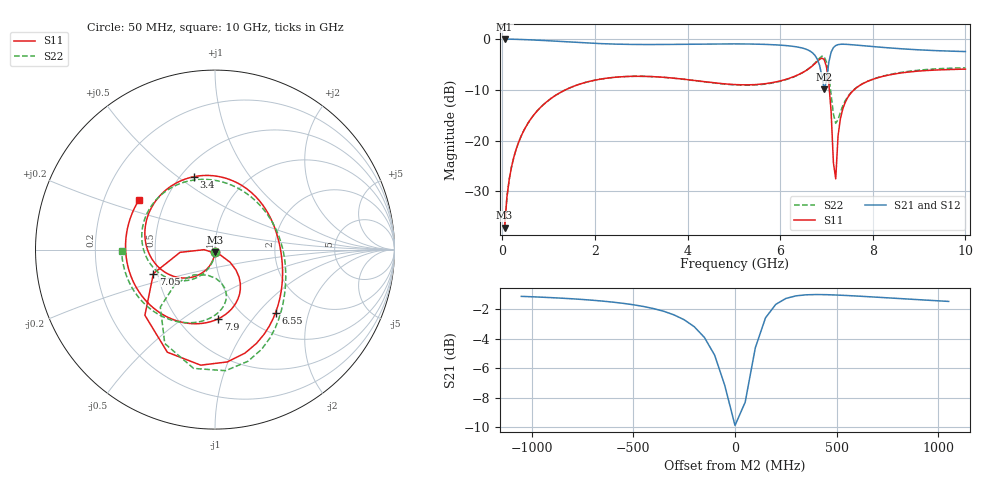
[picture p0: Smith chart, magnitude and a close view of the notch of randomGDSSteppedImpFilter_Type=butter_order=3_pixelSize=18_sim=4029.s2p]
! freq	dB(S11)	phase(S11)	dB(S12)	phase(S12)
!  dB(S21)	phase(S21)	dB(S22)	phase(S22)
!S-par simulation data
#  GHz  S  DB  R 50
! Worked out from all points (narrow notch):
!   200 points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, 50 MHz to 10 GHz, reference 50 ohm
!   highest |S21| = -0.01 dB at 50 MHz (marker M1); lowest = -9.9 dB at 6.95 GHz (marker M2)
!   notch at M2: 8.8 dB deep, 180 MHz wide at half that depth
!   lowest |S11| = -37.1 dB at 50 MHz (marker M3), VSWR 1.03, Z = 49.9 - j1.39 ohm
!   |S11| at or under -10 dB: start of sweep to 1.364 GHz; 7.062 GHz to 7.595 GHz (532.6 MHz wide, 7.27 % of centre)
!   |S22| runs from -37.1 to -3.4 dB; largest |S21 - S12| = 0
!   S11 on the Smith chart (normalised r, x): 50 MHz: 1.00, -0.03; 3.4 GHz: 0.58, +0.57; 6.55 GHz: 1.36, -1.25; 7.05 GHz: 0.47, -0.15; 7.9 GHz: 0.77, -0.69; 10 GHz: 0.35, +0.26
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0.05  -37.14 -92.5  -0.01 -2.4  -0.01 -2.4  -37.13 -92.2
0.2  -25.14 -100.6  -0.03 -9.8  -0.03 -9.8  -25.14 -99.5
0.5  -17.42 -116.1  -0.11 -24.3  -0.11 -24.3  -17.41 -113.5
1.75  -8.66 -177.0  -0.74 -81.6  -0.74 -81.6  -8.66 -167.6
2.55  -7.44 145.9  -1.02 -116.3  -1.02 -116.3  -7.44 160.1
3.4  -7.47 106.4  -1.07 -153.4  -1.07 -153.4  -7.48 125.7
4.25  -8.26 66.3  -0.99 168.0  -0.99 168.0  -8.30 88.9
5.05  -8.97 29.4  -0.95 129.6  -0.95 129.6  -9.04 49.9
5.85  -8.54 -6.7  -1.12 89.1  -1.12 89.1  -8.62 5.4
6.55  -6.25 -46.1  -1.97 48.7  -1.97 48.7  -6.24 -39.3
6.7  -5.26 -60.0  -2.72 37.6  -2.72 37.6  -5.18 -52.5
6.85  -4.02 -83.8  -5.12 25.1  -5.12 25.1  -3.76 -73.5
6.95  -4.01 -114.9  -9.88 40.3  -9.88 40.3  -3.44 -100.2
7.05  -8.68 -158.8  -4.61 73.4  -4.61 73.4  -7.10 -133.6
7.15  -24.35 -179.6  -1.68 56.0  -1.68 56.0  -14.73 -130.0
7.2  -27.52 -45.1  -1.28 48.6  -1.28 48.6  -16.59 -106.9
7.25  -19.08 -40.0  -1.10 42.4  -1.10 42.4  -15.84 -87.9
7.35  -13.83 -48.8  -1.01 32.7  -1.01 32.7  -13.19 -76.0
7.9  -8.28 -87.2  -1.40 -2.5  -1.40 -2.5  -8.27 -95.0
8.35  -7.08 -113.3  -1.74 -25.9  -1.74 -25.9  -7.01 -115.0
9.2  -6.17 -162.7  -2.22 -67.6  -2.22 -67.6  -5.97 -149.4
10  -5.92 146.8  -2.46 -106.6  -2.46 -106.6  -5.67 -179.2
